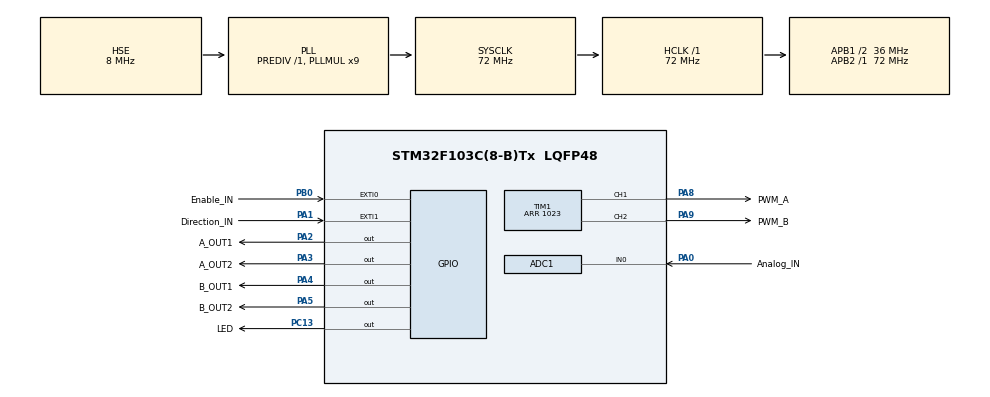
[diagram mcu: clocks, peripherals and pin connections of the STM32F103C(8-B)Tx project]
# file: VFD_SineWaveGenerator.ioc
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ADC1.Channel-0\#ChannelRegularConversion=ADC_CHANNEL_0
ADC1.ContinuousConvMode=ENABLE
ADC1.NbrOfConversionFlag=1
ADC1.Rank-0\#ChannelRegularConversion=1
ADC1.SamplingTime-0\#ChannelRegularConversion=ADC_SAMPLETIME_239CYCLES_5
ADC1.master=1
Dma.ADC1.0.Direction=DMA_PERIPH_TO_MEMORY
Dma.ADC1.0.Instance=DMA1_Channel1
Dma.ADC1.0.MemDataAlignment=DMA_MDATAALIGN_HALFWORD
Dma.ADC1.0.MemInc=DMA_MINC_ENABLE
Dma.ADC1.0.Mode=DMA_CIRCULAR
Dma.ADC1.0.PeriphDataAlignment=DMA_PDATAALIGN_HALFWORD
Dma.ADC1.0.PeriphInc=DMA_PINC_DISABLE
Dma.ADC1.0.Priority=DMA_PRIORITY_HIGH
Dma.Request0=ADC1
Mcu.Family=STM32F1
Mcu.Name=STM32F103C(8-B)Tx
Mcu.Package=LQFP48
NVIC.ADC1_2_IRQn=true\:3\:0\:true\:false\:true\:true\:true
NVIC.DMA1_Channel1_IRQn=true\:2\:0\:true\:false\:true\:false\:true
NVIC.EXTI0_IRQn=true\:0\:0\:true\:false\:true\:true\:true
NVIC.EXTI1_IRQn=true\:1\:0\:true\:false\:true\:true\:true
NVIC.PriorityGroup=NVIC_PRIORITYGROUP_4
NVIC.TIM2_IRQn=true\:4\:0\:true\:false\:true\:true\:true
NVIC.TIM3_IRQn=true\:5\:0\:true\:false\:true\:true\:true
PA0-WKUP.GPIO_Label=Analog_IN
PA0-WKUP.Signal=ADCx_IN0
PA1.GPIO_Label=Direction_IN
PA1.GPIO_ModeDefaultEXTI=GPIO_MODE_IT_RISING_FALLING
PA1.GPIO_PuPd=GPIO_PULLDOWN
PA1.Signal=GPXTI1
PA2.GPIO_Label=A_OUT1
PA2.GPIO_Speed=GPIO_SPEED_FREQ_HIGH
PA2.Signal=GPIO_Output
PA3.GPIO_Label=A_OUT2
PA3.GPIO_Speed=GPIO_SPEED_FREQ_HIGH
PA3.Signal=GPIO_Output
PA4.GPIO_Label=B_OUT1
PA4.GPIO_Speed=GPIO_SPEED_FREQ_HIGH
PA4.Signal=GPIO_Output
PA5.GPIO_Label=B_OUT2
PA5.GPIO_Speed=GPIO_SPEED_FREQ_HIGH
PA5.Signal=GPIO_Output
PA8.GPIO_Label=PWM_A
PA8.GPIO_Speed=GPIO_SPEED_FREQ_HIGH
PA8.Signal=S_TIM1_CH1
PA9.GPIO_Label=PWM_B
PA9.GPIO_Speed=GPIO_SPEED_FREQ_HIGH
PA9.Signal=S_TIM1_CH2
PB0.GPIO_Label=Enable_IN
PB0.GPIO_ModeDefaultEXTI=GPIO_MODE_IT_RISING_FALLING
PB0.GPIO_PuPd=GPIO_PULLDOWN
PB0.Signal=GPXTI0
PC13-TAMPER-RTC.GPIO_Label=LED
PC13-TAMPER-RTC.GPIO_Speed=GPIO_SPEED_FREQ_HIGH
PC13-TAMPER-RTC.Signal=GPIO_Output
PD0-OSC_IN.Mode=HSE-External-Oscillator
PD0-OSC_IN.Signal=RCC_OSC_IN
PD1-OSC_OUT.Mode=HSE-External-Oscillator
PD1-OSC_OUT.Signal=RCC_OSC_OUT
ProjectManager.HeapSize=0x200
ProjectManager.StackSize=0x400
ProjectManager.TargetToolchain=STM32CubeIDE
RCC.ADCPresc=RCC_ADCPCLK2_DIV6
RCC.AHBFreq_Value=72000000
RCC.APB1CLKDivider=RCC_HCLK_DIV2
RCC.APB1Freq_Value=36000000
RCC.APB1TimFreq_Value=72000000
RCC.APB2Freq_Value=72000000
RCC.APB2TimFreq_Value=72000000
RCC.HCLKFreq_Value=72000000
RCC.PLLMUL=RCC_PLL_MUL9
RCC.PLLSourceVirtual=RCC_PLLSOURCE_HSE
RCC.SYSCLKFreq_VALUE=72000000
RCC.SYSCLKSource=RCC_SYSCLKSOURCE_PLLCLK
RCC.USBFreq_Value=72000000
SH.ADCx_IN0.0=ADC1_IN0,IN0
SH.S_TIM1_CH1.0=TIM1_CH1,PWM Generation1 CH1
SH.S_TIM1_CH2.0=TIM1_CH2,PWM Generation2 CH2
TIM1.AutoReloadPreload=TIM_AUTORELOAD_PRELOAD_ENABLE
TIM1.Channel-PWM\ Generation1\ CH1=TIM_CHANNEL_1
TIM1.Channel-PWM\ Generation2\ CH2=TIM_CHANNEL_2
TIM1.Period=1023
TIM2.AutoReloadPreload=TIM_AUTORELOAD_PRELOAD_ENABLE
TIM2.Period=9999
TIM2.Prescaler=3
TIM3.AutoReloadPreload=TIM_AUTORELOAD_PRELOAD_ENABLE
TIM3.Period=199
TIM3.Prescaler=35999
VP_SYS_VS_ND.Mode=No_Debug
VP_TIM1_VS_ClockSourceINT.Mode=Internal
VP_TIM2_VS_ClockSourceINT.Mode=Internal
VP_TIM3_VS_ClockSourceINT.Mode=Internal
board=custom

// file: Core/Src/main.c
/* USER CODE BEGIN Header */
/**
  ******************************************************************************
  * @file           : main.c
  * @brief          : Main program body
  ******************************************************************************
  * @attention
  *
  * <h2><center>&copy; Copyright (c) 2021 STMicroelectronics.
  * All rights reserved.</center></h2>
  *
  * This software component is licensed by ST under BSD 3-Clause license,
  * the "License"; You may not use this file except in compliance with the
  * License. You may obtain a copy of the License at:
  *                        opensource.org/licenses/BSD-3-Clause
  *
  ******************************************************************************
  */
/* USER CODE END Header */
#include "main.h"
#include "adc.h"
#include "dma.h"
#include "tim.h"
#include "gpio.h"

/* USER CODE BEGIN Includes */
#include "H_Bridge.h"
#include "LookUpTable.h"
#include <math.h>
#include <stdlib.h>
#include <stdbool.h>
/* USER CODE END Includes */

/* USER CODE BEGIN PD */

/* Since the sine wave is shifted by the Hbridge by half the real starting point of the output sine wave out of the H bridge is also shifted.

sample 		0 - V_MOTOR-
sample (90-1) - V_MOTOR+

sample (45-1) - GND2

Signals V_MOTOR-, V_MOTOR+, GND2 are shown in schematic.png in main folder.

*/
#define PHASE_U_START_POINT (45 - 1)

#define PHASE_V_START_120_DEG (45 + 120 - 1)	//Second sine wave start point shiffted by 120 samples of the LUT which equals 120 [deg] phase shift, between 1 and 2 channel.
#define PHASE_V_START_240_DEG (105 - 1)			//Second sine wave start point shiffted by -120 samples (45-120= -75 => 180-75= 105) of the LUT which equals -120 [deg] phase shift, between 1 and 2 channel.

/* USER CODE END PD */

/* USER CODE BEGIN PV */

uint8_t uPhaseStep = 0;
uint8_t vPhaseStep = 0;
Direction channelAState = CHANNEL_A_INIT_DIR;
Direction channelBState = CHANNEL_B_INIT_DIR;

uint32_t adcDMABuffer = 0;
float computedFrequency = 0.0f;
uint16_t computedARRValue = 0;

Direction motorDir = DIR_CCW;
VFDState vfdStatus = VFD_OFF;

/* USER CODE END PV */

void SystemClock_Config(void);

/* USER CODE BEGIN 0 */

void HAL_TIM_PeriodElapsedCallback(TIM_HandleTypeDef *htim)
{
	if (htim->Instance == TIM2)
	{

			if (vfdStatus == VFD_ON)
			{

				__HAL_TIM_SET_COMPARE(&htim1, TIM_CHANNEL_1,SineLookUpTable[uPhaseStep]);
				__HAL_TIM_SET_COMPARE(&htim1, TIM_CHANNEL_2,SineLookUpTable[vPhaseStep]);

					if (uPhaseStep == (N_SINE_POINTS - 1))
						uPhaseStep = 0;

					if (vPhaseStep == (N_SINE_POINTS - 1))
						vPhaseStep = 0;

					uPhaseStep++;
					vPhaseStep++;
			}
	}
	if (htim->Instance == TIM3)
	{

			if (vfdStatus == VFD_ON)
			{

				computedFrequency = adcDMABuffer * ADC_SCALE_RATIO;		// Scaling Measured Voltage 0-3.3[V] to 2-167[Hz].

					if ( computedFrequency  >= 2.0f)	// Checking if frequency is greater than 2[Hz] to avoid carrier timer ARR value being greater than 65535.
					{
						computedARRValue = (uint16_t)roundf((18000000/(computedFrequency* F_OUT_TO_F_CARRIER)) - 1);	//Computing the Carrier frequency for a given output frequency F_OUT_TO_F_CARRIER being number of LUT samples.
						__HAL_TIM_SET_AUTORELOAD(&htim2,computedARRValue);
					}

			}
	}

}
void HAL_GPIO_EXTI_Callback(uint16_t GPIO_Pin)
{

		if (GPIO_Pin == Direction_IN_Pin)
		{

				if (HAL_GPIO_ReadPin(Direction_IN_GPIO_Port, Direction_IN_Pin) == GPIO_PIN_SET)
				{

					uPhaseStep = PHASE_U_START_POINT;
					vPhaseStep = PHASE_V_START_240_DEG;

					__HAL_TIM_SET_COMPARE(&htim1, TIM_CHANNEL_1,SineLookUpTable[uPhaseStep]);
					__HAL_TIM_SET_COMPARE(&htim1, TIM_CHANNEL_2,SineLookUpTable[vPhaseStep]);

				}
				else
				if (HAL_GPIO_ReadPin(Direction_IN_GPIO_Port, Direction_IN_Pin) == GPIO_PIN_RESET)
				{

					uPhaseStep = PHASE_U_START_POINT;
					vPhaseStep = PHASE_V_START_120_DEG;

					__HAL_TIM_SET_COMPARE(&htim1, TIM_CHANNEL_1,SineLookUpTable[uPhaseStep]);
					__HAL_TIM_SET_COMPARE(&htim1, TIM_CHANNEL_2,SineLookUpTable[vPhaseStep]);

				}

		}
		if (GPIO_Pin == Enable_IN_Pin)
		{

				if (HAL_GPIO_ReadPin(Enable_IN_GPIO_Port, Enable_IN_Pin) == GPIO_PIN_SET)
				{
					vfdStatus = VFD_ON;
					HAL_GPIO_WritePin(LED_GPIO_Port, LED_Pin, GPIO_PIN_SET);
				}
				else
				if (HAL_GPIO_ReadPin(Enable_IN_GPIO_Port, Enable_IN_Pin) == GPIO_PIN_RESET)
				{
					vfdStatus = VFD_OFF;
					HAL_GPIO_WritePin(LED_GPIO_Port, LED_Pin, GPIO_PIN_RESET);
				}

		}

}

/* USER CODE END 0 */

int main(void)
{

  /* MCU Configuration--------------------------------------------------------*/

  /* Reset of all peripherals, Initializes the Flash interface and the Systick. */
  HAL_Init();

  /* Configure the system clock */
  SystemClock_Config();

  /* USER CODE BEGIN SysInit */
  HAL_TIM_Base_MspInit(&htim1);
  HAL_TIM_Base_MspInit(&htim2);
  HAL_TIM_Base_MspInit(&htim3);
  HAL_ADC_MspInit(&hadc1);
  /* USER CODE END SysInit */

  /* Initialize all configured peripherals */
  MX_GPIO_Init();
  MX_DMA_Init();
  MX_ADC1_Init();
  MX_TIM1_Init();
  MX_TIM2_Init();
  MX_TIM3_Init();
  /* USER CODE BEGIN 2 */

  HAL_ADC_Stop(&hadc1);
  HAL_ADCEx_Calibration_Start(&hadc1);
  HAL_ADC_Start_DMA(&hadc1, &adcDMABuffer, 1);

  H_Bridge_SetDirection(CHANNEL_A_INIT_DIR, H_BRIDGE_DIR_PORT_A, &channelAState);
  H_Bridge_SetDirection(CHANNEL_B_INIT_DIR, H_BRIDGE_DIR_PORT_B, &channelBState);

  uPhaseStep = PHASE_U_START_POINT;
  vPhaseStep = PHASE_V_START_120_DEG;

  __HAL_TIM_SET_COMPARE(&htim1,TIM_CHANNEL_1,SineLookUpTable[uPhaseStep]);
  __HAL_TIM_SET_COMPARE(&htim1,TIM_CHANNEL_2,SineLookUpTable[vPhaseStep]);

  HAL_TIM_PWM_Start(&htim1, TIM_CHANNEL_1);
  HAL_TIM_PWM_Start(&htim1, TIM_CHANNEL_2);

  HAL_TIM_Base_Start_IT(&htim2);
  HAL_TIM_Base_Start_IT(&htim3);
  /* USER CODE END 2 */

  /* Infinite loop */
  while (1)
  {

  }
}

void SystemClock_Config(void)
{
  RCC_OscInitTypeDef RCC_OscInitStruct = {0};
  RCC_ClkInitTypeDef RCC_ClkInitStruct = {0};
  RCC_PeriphCLKInitTypeDef PeriphClkInit = {0};

  /** Initializes the RCC Oscillators according to the specified parameters
  * in the RCC_OscInitTypeDef structure.
  */
  RCC_OscInitStruct.OscillatorType = RCC_OSCILLATORTYPE_HSE;
  RCC_OscInitStruct.HSEState = RCC_HSE_ON;
  RCC_OscInitStruct.HSEPredivValue = RCC_HSE_PREDIV_DIV1;
  RCC_OscInitStruct.HSIState = RCC_HSI_ON;
  RCC_OscInitStruct.PLL.PLLState = RCC_PLL_ON;
  RCC_OscInitStruct.PLL.PLLSource = RCC_PLLSOURCE_HSE;
  RCC_OscInitStruct.PLL.PLLMUL = RCC_PLL_MUL9;
  if (HAL_RCC_OscConfig(&RCC_OscInitStruct) != HAL_OK)
  {
    Error_Handler();
  }
  /** Initializes the CPU, AHB and APB buses clocks
  */
  RCC_ClkInitStruct.ClockType = RCC_CLOCKTYPE_HCLK|RCC_CLOCKTYPE_SYSCLK
                              |RCC_CLOCKTYPE_PCLK1|RCC_CLOCKTYPE_PCLK2;
  RCC_ClkInitStruct.SYSCLKSource = RCC_SYSCLKSOURCE_PLLCLK;
  RCC_ClkInitStruct.AHBCLKDivider = RCC_SYSCLK_DIV1;
  RCC_ClkInitStruct.APB1CLKDivider = RCC_HCLK_DIV2;
  RCC_ClkInitStruct.APB2CLKDivider = RCC_HCLK_DIV1;

  if (HAL_RCC_ClockConfig(&RCC_ClkInitStruct, FLASH_LATENCY_2) != HAL_OK)
  {
    Error_Handler();
  }
  PeriphClkInit.PeriphClockSelection = RCC_PERIPHCLK_ADC;
  PeriphClkInit.AdcClockSelection = RCC_ADCPCLK2_DIV6;
  if (HAL_RCCEx_PeriphCLKConfig(&PeriphClkInit) != HAL_OK)
  {
    Error_Handler();
  }
}

void Error_Handler(void)
{
  __disable_irq();
  while (1)
  {
  }
}

/************************ (C) COPYRIGHT STMicroelectronics *****END OF FILE****/
